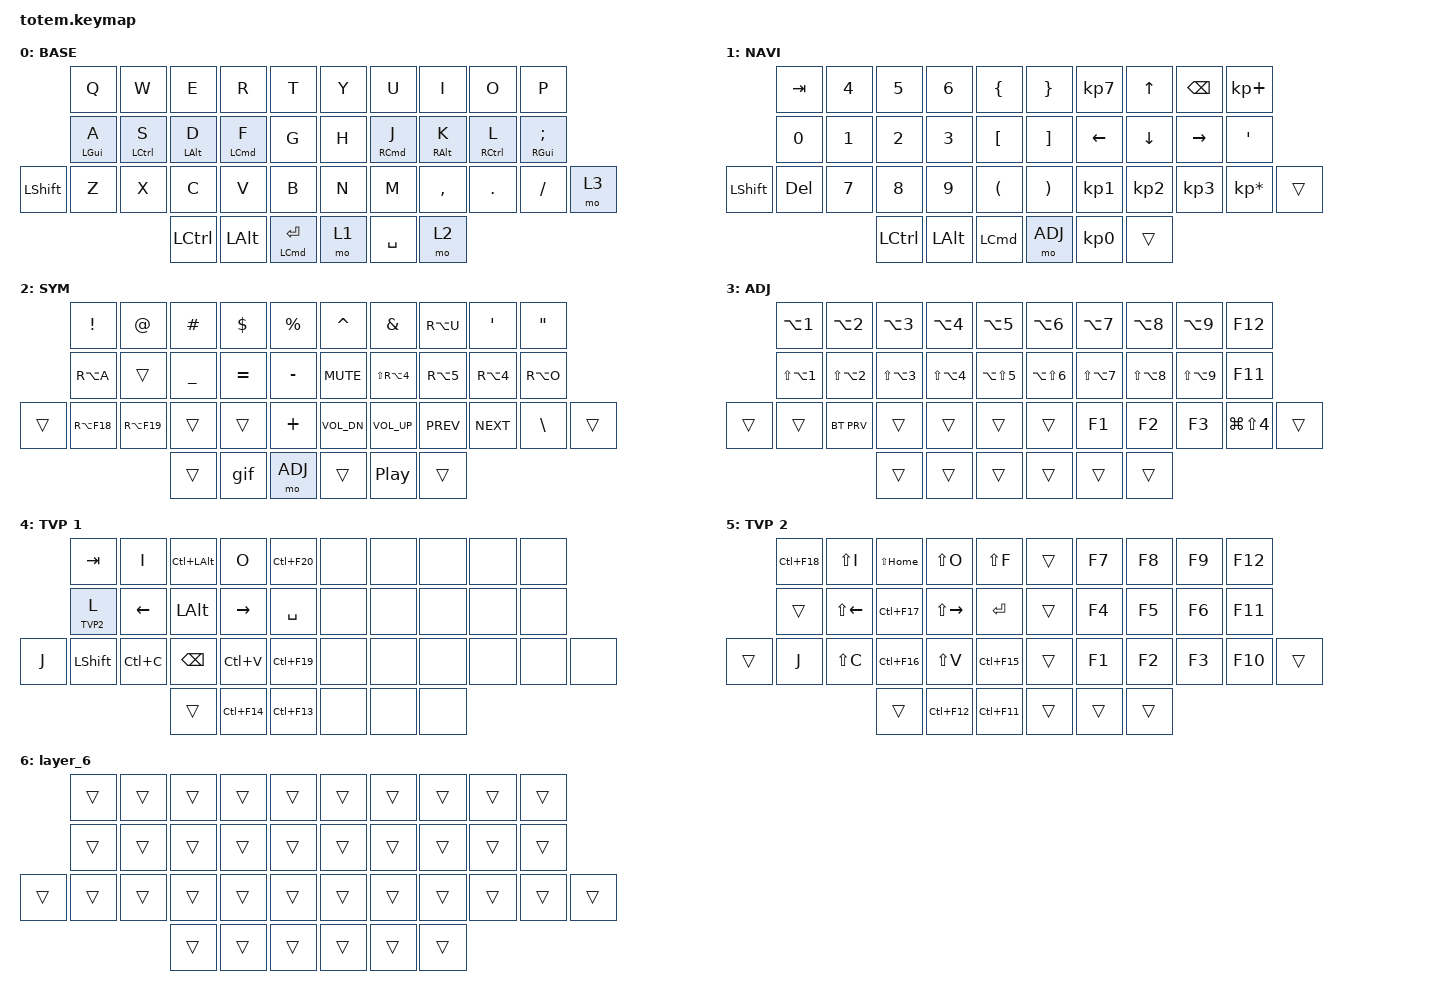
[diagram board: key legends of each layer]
//
//                                                        ▀▀▀▀▀     ▀▀▀▀▀          ▀▀█▀▀
//                                                        ▄▀▀▀▄  ▄  ▄▀▀▀▄  ▄  ▄▀▀▀▄  █  ▄▀▀▀▄
//                                                        █   █  █  █   █  █  █   █  █  █   █
//                                                         ▀▀▀   █   ▀▀▀   █   ▀▀▀   ▀   ▀▀▀
//                                                               █      ▄▄▄█▄▄▄    █   █  
//                                                               ▀      █  █  █     █▄█
//                                                             ▀▀▀▀▀    █  █  █      ▀
//                                                                      ▀  ▀  ▀
//
// ▄▄▄▄▄▄▄▄▄▄▄▄▄▄▄▄▄▄▄▄▄▄▄▄▄▄▄▄▄▄▄▄▄▄▄▄▄▄▄▄▄▄▄▄▄▄▄▄▄▄▄▄▄▄▄▄▄▄▄▄▄▄▄▄▄▄▄▄▄▄▄▄▄▄▄▄▄▄▄▄▄▄▄▄▄▄▄▄▄▄▄▄▄▄▄▄▄▄▄▄▄▄▄▄▄▄▄▄▄▄▄▄▄▄▄▄▄▄▄▄▄▄▄▄▄▄▄▄▄▄▄▄▄▄▄▄▄▄▄▄▄▄▄▄▄▄▄▄▄

#include <behaviors.dtsi>
#include <dt-bindings/zmk/bt.h>
#include <dt-bindings/zmk/keys.h>

#define BASE 0
#define NAV  1
#define SYM  2
#define ADJ  3
#define TVP1 4
#define TVP2 5

&mt {
    quick-tap-ms = <100>;
    global-quick-tap;
    flavor = "tap-preferred";
    tapping-term-ms = <170>;
};

/ {
    combos {
        compatible = "zmk,combos";

        combo_esc {
            timeout-ms = <50>;
            key-positions = <0 1>;
            bindings = <&kp ESC>;
        };

        combo_tvp {
            timeout-ms = <100>;
            key-positions = <11 12 13>;
            bindings = <&tog TVP1>;
        };

        combo_tab {
            bindings = <&kp TAB>;
            key-positions = <2 1>;
        };

        combo_backspace {
            bindings = <&kp BACKSPACE>;
            key-positions = <16 17>;
        };
    };

    macros {
        gif: gif {
            label = "giphy";
            compatible = "zmk,behavior-macro";
            #binding-cells = <0>;
            bindings =
                <&macro_press>,
                <&kp LSHFT>,
                <&macro_tap>,
                <&kp N2>,
                <&macro_release>,
                <&kp LSHFT>,
                <&macro_tap>,
                <&kp G &kp I &kp F>;
        };
    };

    keymap {
        compatible = "zmk,keymap";

        // ▄▄▄▄▄▄▄▄▄▄▄▄▄▄▄▄▄▄▄▄▄▄▄▄▄▄▄▄▄▄▄▄▄▄▄▄▄▄▄▄▄▄▄▄▄▄▄▄▄▄▄▄▄▄▄▄▄▄▄▄▄▄▄▄▄▄▄▄▄▄▄▄▄▄▄▄▄▄▄▄▄▄▄▄▄▄▄▄▄▄▄▄▄▄▄▄▄▄▄▄▄▄▄▄▄▄▄▄▄▄▄▄▄▄▄▄▄▄▄▄▄▄▄▄▄▄▄▄▄▄▄▄▄▄▄▄▄▄▄▄▄▄▄▄▄▄▄▄▄

        base_layer {
            // ┏━━━━━━━━━━━━━━━━━━━━━━━━━━━━━━━━━━━━━━━┓

            label = "BASE";

            // ┗━━━━━━━━━━━━━━━━━━━━━━━━━━━━━━━━━━━━━━━┛
            //             ┏━━━━━━━━━━━┳━━━━━━━━━━━┳━━━━━━━━━━━┳━━━━━━━━━━━┳━━━━━━━━━━━┓   ┏━━━━━━━━━━━┳━━━━━━━━━━━┳━━━━━━━━━━━┳━━━━━━━━━━━┳━━━━━━━━━━━┓
            //             ┃     Q     ┃     W     ┃     F     ┃     P     ┃     G     ┃   ┃     J     ┃     L     ┃     U     ┃     Y     ┃     ;     ┃
            //             ┣━━━━━━━━━━━╋━━━━━━━━━━━╋━━━━━━━━━━━╋━━━━━━━━━━━╋━━━━━━━━━━━┫   ┣━━━━━━━━━━━╋━━━━━━━━━━━╋━━━━━━━━━━━╋━━━━━━━━━━━╋━━━━━━━━━━━┫
            //             ┃     A     ┃     R     ┃     S     ┃     T     ┃     D     ┃   ┃     H     ┃     N     ┃     E     ┃     I     ┃     O     ┃
            // ┏━━━━━━━━━━━╋━━━━━━━━━━━╋━━━━━━━━━━━╋━━━━━━━━━━━╋━━━━━━━━━━━╋━━━━━━━━━━━┫   ┣━━━━━━━━━━━╋━━━━━━━━━━━╋━━━━━━━━━━━╋━━━━━━━━━━━╋━━━━━━━━━━━╋━━━━━━━━━━━┓
            // ┃     Q     ┃     Z     ┃     X     ┃     C     ┃     V     ┃     B     ┃   ┃     K     ┃     M     ┃     ,     ┃     .     ┃     /     ┃     \     ┃
            // ┗━━━━━━━━━━━┻━━━━━━━━━━━┻━━━━━━━━━━━╋━━━━━━━━━━━╋━━━━━━━━━━━╋━━━━━━━━━━━┫   ┣━━━━━━━━━━━╋━━━━━━━━━━━╋━━━━━━━━━━━╋━━━━━━━━━━━┻━━━━━━━━━━━┻━━━━━━━━━━━┛
            //                                     ┃    DEL    ┃    TAB    ┃    SPC    ┃   ┃   ENTER   ┃           ┃   BSPC    ┃
            //                                     ┗━━━━━━━━━━━┻━━━━━━━━━━━┻━━━━━━━━━━━┛   ┗━━━━━━━━━━━┻━━━━━━━━━━━┻━━━━━━━━━━━┛

            bindings = <
                &kp Q       &kp W               &kp E             &kp R         &kp T             &kp Y  &kp U       &kp I       &kp O                &kp P
                &mt LGUI A  &mt LEFT_CONTROL S  &mt LEFT_ALT D    &mt LCMD F    &kp G             &kp H  &mt RCMD J  &mt RALT K  &mt RIGHT_CONTROL L  &mt RGUI SEMICOLON
&kp LEFT_SHIFT  &kp Z       &kp X               &kp C             &kp V         &kp B             &kp N  &kp M       &kp COMMA   &kp DOT              &kp FSLH            &mo 3
                                                &kp LEFT_CONTROL  &kp LEFT_ALT  &mt LCMD ENTER    &mo 1  &kp SPACE   &mo 2
            >;
        };

        // ▄▄▄▄▄▄▄▄▄▄▄▄▄▄▄▄▄▄▄▄▄▄▄▄▄▄▄▄▄▄▄▄▄▄▄▄▄▄▄▄▄▄▄▄▄▄▄▄▄▄▄▄▄▄▄▄▄▄▄▄▄▄▄▄▄▄▄▄▄▄▄▄▄▄▄▄▄▄▄▄▄▄▄▄▄▄▄▄▄▄▄▄▄▄▄▄▄▄▄▄▄▄▄▄▄▄▄▄▄▄▄▄▄▄▄▄▄▄▄▄▄▄▄▄▄▄▄▄▄▄▄▄▄▄▄▄▄▄▄▄▄▄▄▄▄▄▄▄▄

        number_symbol {
            // ┏━━━━━━━━━━━━━━━━━━━━━━━━━━━━━━━━━━━━━━━┓

            label = "NAVI";

            // ┗━━━━━━━━━━━━━━━━━━━━━━━━━━━━━━━━━━━━━━━┛
            //             ┏━━━━━━━━━━━┳━━━━━━━━━━━┳━━━━━━━━━━━┳━━━━━━━━━━━┳━━━━━━━━━━━┓   ┏━━━━━━━━━━━┳━━━━━━━━━━━┳━━━━━━━━━━━┳━━━━━━━━━━━┳━━━━━━━━━━━┓
            //             ┃           ┃           ┃     UP    ┃           ┃     {     ┃   ┃     }     ┃     7     ┃     8     ┃     9     ┃     +     ┃
            //             ┣━━━━━━━━━━━╋━━━━━━━━━━━╋━━━━━━━━━━━╋━━━━━━━━━━━╋━━━━━━━━━━━┫   ┣━━━━━━━━━━━╋━━━━━━━━━━━╋━━━━━━━━━━━╋━━━━━━━━━━━╋━━━━━━━━━━━┫
            //             ┃   SHIFT   ┃   LEFT    ┃    DOWN   ┃   RIGHT   ┃     [     ┃   ┃     ]     ┃     4     ┃     5     ┃     6     ┃     -     ┃
            // ┏━━━━━━━━━━━╋━━━━━━━━━━━╋━━━━━━━━━━━╋━━━━━━━━━━━╋━━━━━━━━━━━╋━━━━━━━━━━━┫   ┣━━━━━━━━━━━╋━━━━━━━━━━━╋━━━━━━━━━━━╋━━━━━━━━━━━╋━━━━━━━━━━━╋━━━━━━━━━━━┓
            // ┃           ┃           ┃   P UP    ┃  C LOCK   ┃  P DOWN   ┃     (     ┃   ┃     )     ┃     1     ┃     2     ┃     3     ┃     *     ┃           ┃
            // ┗━━━━━━━━━━━┻━━━━━━━━━━━┻━━━━━━━━━━━╋━━━━━━━━━━━╋━━━━━━━━━━━╋━━━━━━━━━━━┫   ┣━━━━━━━━━━━╋━━━━━━━━━━━╋━━━━━━━━━━━╋━━━━━━━━━━━┻━━━━━━━━━━━┻━━━━━━━━━━━┛
            //                                     ┃           ┃    TAB    ┃    SPC    ┃   ┃    DEL    ┃     0     ┃           ┃
            //                                     ┗━━━━━━━━━━━┻━━━━━━━━━━━┻━━━━━━━━━━━┛   ┗━━━━━━━━━━━┻━━━━━━━━━━━┻━━━━━━━━━━━┛

            bindings = <
                &kp TAB       &kp NUMBER_4  &kp NUMBER_5      &kp NUMBER_6  &kp LBRC                &kp RBRC  &kp KP_N7  &kp UP_ARROW  &kp BACKSPACE  &kp KP_PLUS
                &kp NUMBER_0  &kp NUMBER_1  &kp NUMBER_2      &kp NUMBER_3  &kp LBKT                &kp RBKT  &kp LEFT   &kp DOWN      &kp RIGHT      &kp SQT
&kp LEFT_SHIFT  &kp DEL       &kp NUMBER_7  &kp NUMBER_8      &kp NUMBER_9  &kp LEFT_PARENTHESIS    &kp RPAR  &kp KP_N1  &kp KP_N2     &kp KP_N3      &kp KP_MULTIPLY  &trans
                                            &kp LEFT_CONTROL  &kp LEFT_ALT  &kp LCMD                &mo ADJ   &kp KP_N0  &trans
            >;
        };

        // ▄▄▄▄▄▄▄▄▄▄▄▄▄▄▄▄▄▄▄▄▄▄▄▄▄▄▄▄▄▄▄▄▄▄▄▄▄▄▄▄▄▄▄▄▄▄▄▄▄▄▄▄▄▄▄▄▄▄▄▄▄▄▄▄▄▄▄▄▄▄▄▄▄▄▄▄▄▄▄▄▄▄▄▄▄▄▄▄▄▄▄▄▄▄▄▄▄▄▄▄▄▄▄▄▄▄▄▄▄▄▄▄▄▄▄▄▄▄▄▄▄▄▄▄▄▄▄▄▄▄▄▄▄▄▄▄▄▄▄▄▄▄▄▄▄▄▄▄▄

        symbol {
            // ┏━━━━━━━━━━━━━━━━━━━━━━━━━━━━━━━━━━━━━━━┓

            label = "SYM";

            // ┗━━━━━━━━━━━━━━━━━━━━━━━━━━━━━━━━━━━━━━━┛
            //             ┏━━━━━━━━━━━┳━━━━━━━━━━━┳━━━━━━━━━━━┳━━━━━━━━━━━┳━━━━━━━━━━━┓   ┏━━━━━━━━━━━┳━━━━━━━━━━━┳━━━━━━━━━━━┳━━━━━━━━━━━┳━━━━━━━━━━━┓
            //             ┃     !     ┃     @     ┃     #     ┃     $     ┃     %     ┃   ┃     ˆ     ┃     &     ┃     Ü     ┃     '     ┃     "     ┃
            //             ┣━━━━━━━━━━━╋━━━━━━━━━━━╋━━━━━━━━━━━╋━━━━━━━━━━━╋━━━━━━━━━━━┫   ┣━━━━━━━━━━━╋━━━━━━━━━━━╋━━━━━━━━━━━╋━━━━━━━━━━━╋━━━━━━━━━━━┫
            //             ┃     Ä     ┃           ┃    SZ     ┃           ┃           ┃   ┃   MUTE    ┃   YEN     ┃   EURO    ┃  POUND    ┃     Ö     ┃
            // ┏━━━━━━━━━━━╋━━━━━━━━━━━╋━━━━━━━━━━━╋━━━━━━━━━━━╋━━━━━━━━━━━╋━━━━━━━━━━━┫   ┣━━━━━━━━━━━╋━━━━━━━━━━━╋━━━━━━━━━━━╋━━━━━━━━━━━╋━━━━━━━━━━━╋━━━━━━━━━━━┓
            // ┃           ┃  EMAIL1   ┃  EMAIL2   ┃           ┃           ┃           ┃   ┃   VOL-    ┃   VOL+    ┃   LAST    ┃   NEXT    ┃     \     ┃           ┃
            // ┗━━━━━━━━━━━┻━━━━━━━━━━━┻━━━━━━━━━━━╋━━━━━━━━━━━╋━━━━━━━━━━━╋━━━━━━━━━━━┫   ┣━━━━━━━━━━━╋━━━━━━━━━━━╋━━━━━━━━━━━╋━━━━━━━━━━━┻━━━━━━━━━━━┻━━━━━━━━━━━┛
            //                                     ┃           ┃    GIF    ┃    ADJ    ┃   ┃           ┃           ┃           ┃
            //                                     ┗━━━━━━━━━━━┻━━━━━━━━━━━┻━━━━━━━━━━━┛   ┗━━━━━━━━━━━┻━━━━━━━━━━━┻━━━━━━━━━━━┛

            bindings = <
        &kp EXCL     &kp AT       &kp HASH        &kp DLLR   &kp PRCNT    &kp CARET     &kp AMPS        &kp RA(U)   &kp SQT     &kp DQT
        &kp RA(A)    &trans       &kp UNDERSCORE  &kp EQUAL  &kp MINUS    &kp C_MUTE    &kp LS(RA(N4))  &kp RA(N5)  &kp RA(N4)  &kp RA(O)
&trans  &kp RA(F18)  &kp RA(F19)  &trans          &trans     &kp PLUS     &kp C_VOL_DN  &kp C_VOL_UP    &kp C_PREV  &kp C_NEXT  &kp BSLH   &trans
                                  &trans          &gif       &mo ADJ      &trans        &kp C_PP        &trans
            >;
        };

        // ▄▄▄▄▄▄▄▄▄▄▄▄▄▄▄▄▄▄▄▄▄▄▄▄▄▄▄▄▄▄▄▄▄▄▄▄▄▄▄▄▄▄▄▄▄▄▄▄▄▄▄▄▄▄▄▄▄▄▄▄▄▄▄▄▄▄▄▄▄▄▄▄▄▄▄▄▄▄▄▄▄▄▄▄▄▄▄▄▄▄▄▄▄▄▄▄▄▄▄▄▄▄▄▄▄▄▄▄▄▄▄▄▄▄▄▄▄▄▄▄▄▄▄▄▄▄▄▄▄▄▄▄▄▄▄▄▄▄▄▄▄▄▄▄▄▄▄▄▄

        window_management {
            // ┏━━━━━━━━━━━━━━━━━━━━━━━━━━━━━━━━━━━━━━━┓

            label = "ADJ";

            // ┗━━━━━━━━━━━━━━━━━━━━━━━━━━━━━━━━━━━━━━━┛
            //             ┏━━━━━━━━━━━┳━━━━━━━━━━━┳━━━━━━━━━━━┳━━━━━━━━━━━┳━━━━━━━━━━━┓   ┏━━━━━━━━━━━┳━━━━━━━━━━━┳━━━━━━━━━━━┳━━━━━━━━━━━┳━━━━━━━━━━━┓
            //             ┃   RESET   ┃ BT CLEAR  ┃  OUT TOG  ┃           ┃           ┃   ┃           ┃    F7     ┃    F8     ┃    F9     ┃    F12    ┃
            //             ┣━━━━━━━━━━━╋━━━━━━━━━━━╋━━━━━━━━━━━╋━━━━━━━━━━━╋━━━━━━━━━━━┫   ┣━━━━━━━━━━━╋━━━━━━━━━━━╋━━━━━━━━━━━╋━━━━━━━━━━━╋━━━━━━━━━━━┫
            //             ┃ BOOTLOAD  ┃ BT NEXT   ┃           ┃           ┃           ┃   ┃           ┃    F4     ┃    F5     ┃    F6     ┃    F11    ┃
            // ┏━━━━━━━━━━━╋━━━━━━━━━━━╋━━━━━━━━━━━╋━━━━━━━━━━━╋━━━━━━━━━━━╋━━━━━━━━━━━┫   ┣━━━━━━━━━━━╋━━━━━━━━━━━╋━━━━━━━━━━━╋━━━━━━━━━━━╋━━━━━━━━━━━╋━━━━━━━━━━━┓
            // ┃           ┃           ┃ BT PREV   ┃           ┃           ┃           ┃   ┃           ┃    F1     ┃    F2     ┃    F3     ┃    F10    ┃           ┃
            // ┗━━━━━━━━━━━┻━━━━━━━━━━━┻━━━━━━━━━━━╋━━━━━━━━━━━╋━━━━━━━━━━━╋━━━━━━━━━━━┫   ┣━━━━━━━━━━━╋━━━━━━━━━━━╋━━━━━━━━━━━╋━━━━━━━━━━━┻━━━━━━━━━━━┻━━━━━━━━━━━┛
            //                                     ┃           ┃           ┃           ┃   ┃           ┃           ┃           ┃
            //                                     ┗━━━━━━━━━━━┻━━━━━━━━━━━┻━━━━━━━━━━━┛   ┗━━━━━━━━━━━┻━━━━━━━━━━━┻━━━━━━━━━━━┛

            bindings = <
        &kp LA(NUMBER_1)      &kp LA(NUMBER_2)      &kp LA(NUMBER_3)      &kp LA(NUMBER_4)      &kp LA(NUMBER_5)        &kp LA(NUMBER_6)      &kp LA(NUMBER_7)      &kp LA(NUMBER_8)      &kp LA(NUMBER_9)      &kp F12
        &kp LS(LA(NUMBER_1))  &kp LS(LA(NUMBER_2))  &kp LS(LA(NUMBER_3))  &kp LS(LA(NUMBER_4))  &kp LA(LS(NUMBER_5))    &kp LA(LS(NUMBER_6))  &kp LS(LA(NUMBER_7))  &kp LS(LA(NUMBER_8))  &kp LS(LA(NUMBER_9))  &kp F11
&trans  &trans                &bt BT_PRV            &trans                &trans                &trans                  &trans                &kp F1                &kp F2                &kp F3                &kp LG(LS(NUMBER_4))  &trans
                                                    &trans                &trans                &trans                  &trans                &trans                &trans
            >;
        };

        // ▄▄▄▄▄▄▄▄▄▄▄▄▄▄▄▄▄▄▄▄▄▄▄▄▄▄▄▄▄▄▄▄▄▄▄▄▄▄▄▄▄▄▄▄▄▄▄▄▄▄▄▄▄▄▄▄▄▄▄▄▄▄▄▄▄▄▄▄▄▄▄▄▄▄▄▄▄▄▄▄▄▄▄▄▄▄▄▄▄▄▄▄▄▄▄▄▄▄▄▄▄▄▄▄▄▄▄▄▄▄▄▄▄▄▄▄▄▄▄▄▄▄▄▄▄▄▄▄▄▄▄▄▄▄▄▄▄▄▄▄▄▄▄▄▄▄▄▄▄

        tvp1_layer {
            // ┏━━━━━━━━━━━━━━━━━━━━━━━━━━━━━━━━━━━━━━━┓

            label = "TVP 1";

            // ┗━━━━━━━━━━━━━━━━━━━━━━━━━━━━━━━━━━━━━━━┛
            //             ┏━━━━━━━━━━━┳━━━━━━━━━━━┳━━━━━━━━━━━┳━━━━━━━━━━━┳━━━━━━━━━━━┓   ┏━━━━━━━━━━━┳━━━━━━━━━━━┳━━━━━━━━━━━┳━━━━━━━━━━━┳━━━━━━━━━━━┓
            //             ┃ NEXT FILE ┃ MARK IN   ┃ ROTATE    ┃ MARK OUT  ┃ SHOW SNAP ┃   ┃           ┃           ┃           ┃           ┃           ┃
            //             ┣━━━━━━━━━━━╋━━━━━━━━━━━╋━━━━━━━━━━━╋━━━━━━━━━━━╋━━━━━━━━━━━┫   ┣━━━━━━━━━━━╋━━━━━━━━━━━╋━━━━━━━━━━━╋━━━━━━━━━━━╋━━━━━━━━━━━┫
            //             ┃ TVP II    ┃ LEFT      ┃ PAN       ┃ RIGHT     ┃ PLAY/FLIP ┃   ┃           ┃           ┃           ┃           ┃           ┃
            // ┏━━━━━━━━━━━╋━━━━━━━━━━━╋━━━━━━━━━━━╋━━━━━━━━━━━╋━━━━━━━━━━━╋━━━━━━━━━━━┫   ┣━━━━━━━━━━━╋━━━━━━━━━━━╋━━━━━━━━━━━╋━━━━━━━━━━━╋━━━━━━━━━━━╋━━━━━━━━━━━┓
            // ┃ FULLSCR   ┃ SHIFT     ┃ COPY      ┃ DELETE    ┃ PASTE     ┃ IMG MARK  ┃   ┃           ┃           ┃           ┃           ┃           ┃           ┃
            // ┗━━━━━━━━━━━┻━━━━━━━━━━━┻━━━━━━━━━━━╋━━━━━━━━━━━╋━━━━━━━━━━━╋━━━━━━━━━━━┫   ┣━━━━━━━━━━━╋━━━━━━━━━━━╋━━━━━━━━━━━╋━━━━━━━━━━━┻━━━━━━━━━━━┻━━━━━━━━━━━┛
            //                                     ┃           ┃ UNDO/SAVE ┃  SEL/MOV  ┃   ┃           ┃           ┃           ┃
            //                                     ┗━━━━━━━━━━━┻━━━━━━━━━━━┻━━━━━━━━━━━┛   ┗━━━━━━━━━━━┻━━━━━━━━━━━┻━━━━━━━━━━━┛

            bindings = <
       &kp TAB     &kp I      &kp LC(LALT)  &kp O        &kp LC(F20)    &none  &none  &none  &none  &none
       &lt TVP2 L  &kp LEFT   &kp LALT      &kp RIGHT    &kp SPACE      &none  &none  &none  &none  &none
&kp J  &kp LSHFT   &kp LC(C)  &kp BSPC      &kp LC(V)    &kp LC(F19)    &none  &none  &none  &none  &none  &none
                              &trans        &kp LC(F14)  &kp LC(F13)    &none  &none  &none
            >;
        };

        // ▄▄▄▄▄▄▄▄▄▄▄▄▄▄▄▄▄▄▄▄▄▄▄▄▄▄▄▄▄▄▄▄▄▄▄▄▄▄▄▄▄▄▄▄▄▄▄▄▄▄▄▄▄▄▄▄▄▄▄▄▄▄▄▄▄▄▄▄▄▄▄▄▄▄▄▄▄▄▄▄▄▄▄▄▄▄▄▄▄▄▄▄▄▄▄▄▄▄▄▄▄▄▄▄▄▄▄▄▄▄▄▄▄▄▄▄▄▄▄▄▄▄▄▄▄▄▄▄▄▄▄▄▄▄▄▄▄▄▄▄▄▄▄▄▄▄▄▄▄

        tvp2_layer {
            // ┏━━━━━━━━━━━━━━━━━━━━━━━━━━━━━━━━━━━━━━━┓

            label = "TVP 2";

            // ┗━━━━━━━━━━━━━━━━━━━━━━━━━━━━━━━━━━━━━━━┛
            //             ┏━━━━━━━━━━━┳━━━━━━━━━━━┳━━━━━━━━━━━┳━━━━━━━━━━━┳━━━━━━━━━━━┓   ┏━━━━━━━━━━━┳━━━━━━━━━━━┳━━━━━━━━━━━┳━━━━━━━━━━━┳━━━━━━━━━━━┓
            //             ┃ SOLO      ┃ TOGGLE IN ┃ RESET ROT ┃ TOGGLE OUT┃ TAKE SNAP ┃   ┃           ┃           ┃           ┃           ┃           ┃
            //             ┣━━━━━━━━━━━╋━━━━━━━━━━━╋━━━━━━━━━━━╋━━━━━━━━━━━╋━━━━━━━━━━━┫   ┣━━━━━━━━━━━╋━━━━━━━━━━━╋━━━━━━━━━━━╋━━━━━━━━━━━╋━━━━━━━━━━━┫
            //             ┃ ---       ┃ LAST KEY  ┃ NEW KEY   ┃ NEXT KEY  ┃ ENTER     ┃   ┃           ┃           ┃           ┃           ┃           ┃
            // ┏━━━━━━━━━━━╋━━━━━━━━━━━╋━━━━━━━━━━━╋━━━━━━━━━━━╋━━━━━━━━━━━╋━━━━━━━━━━━┫   ┣━━━━━━━━━━━╋━━━━━━━━━━━╋━━━━━━━━━━━╋━━━━━━━━━━━╋━━━━━━━━━━━╋━━━━━━━━━━━┓
            // ┃           ┃ FULLSCR   ┃ CPY2BRUSH ┃ DEL HEAD  ┃ PSTinPLACE┃ BOOK MARK ┃   ┃           ┃           ┃           ┃           ┃           ┃           ┃
            // ┗━━━━━━━━━━━┻━━━━━━━━━━━┻━━━━━━━━━━━╋━━━━━━━━━━━╋━━━━━━━━━━━╋━━━━━━━━━━━┫   ┣━━━━━━━━━━━╋━━━━━━━━━━━╋━━━━━━━━━━━╋━━━━━━━━━━━┻━━━━━━━━━━━┻━━━━━━━━━━━┛
            //                                     ┃           ┃ REDO/SAV1 ┃TRANS/WARP ┃   ┃           ┃           ┃           ┃
            //                                     ┗━━━━━━━━━━━┻━━━━━━━━━━━┻━━━━━━━━━━━┛   ┗━━━━━━━━━━━┻━━━━━━━━━━━┻━━━━━━━━━━━┛

            bindings = <
        &kp LC(F18)  &kp LS(I)     &kp LS(HOME)  &kp LS(O)      &kp LS(F)      &trans  &kp F7  &kp F8  &kp F9  &kp F12
        &trans       &kp LS(LEFT)  &kp LC(F17)   &kp LS(RIGHT)  &kp RET        &trans  &kp F4  &kp F5  &kp F6  &kp F11
&trans  &kp J        &kp LS(C)     &kp LC(F16)   &kp LS(V)      &kp LC(F15)    &trans  &kp F1  &kp F2  &kp F3  &kp F10  &trans
                                   &trans        &kp LC(F12)    &kp LC(F11)    &trans  &trans  &trans
            >;
        };

        layer_6 {
            bindings = <
        &trans  &trans  &trans  &trans  &trans    &trans  &trans  &trans  &trans  &trans
        &trans  &trans  &trans  &trans  &trans    &trans  &trans  &trans  &trans  &trans
&trans  &trans  &trans  &trans  &trans  &trans    &trans  &trans  &trans  &trans  &trans  &trans
                        &trans  &trans  &trans    &trans  &trans  &trans
            >;
        };
    };
};
